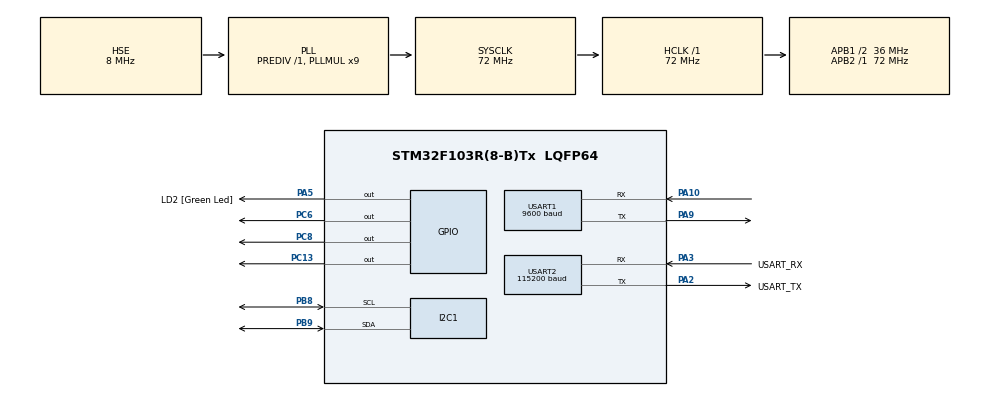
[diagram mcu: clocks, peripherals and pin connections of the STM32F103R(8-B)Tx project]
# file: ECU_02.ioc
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FREERTOS.Tasks01=defaultTask,0,128,StartDefaultTask,Default,NULL,Dynamic,NULL,NULL
Mcu.Family=STM32F1
Mcu.Name=STM32F103R(8-B)Tx
Mcu.Package=LQFP64
NVIC.PriorityGroup=NVIC_PRIORITYGROUP_4
NVIC.USART2_IRQn=true\:5\:0\:false\:false\:true\:true\:true\:true\:true
PA10.Mode=Asynchronous
PA10.Signal=USART1_RX
PA13.GPIO_Label=TMS
PA13.Mode=Serial_Wire
PA13.Signal=SYS_JTMS-SWDIO
PA14.GPIO_Label=TCK
PA14.Mode=Serial_Wire
PA14.Signal=SYS_JTCK-SWCLK
PA2.GPIO_Label=USART_TX
PA2.GPIO_Mode=GPIO_MODE_AF_PP
PA2.GPIO_PuPd=GPIO_NOPULL
PA2.GPIO_Speed=GPIO_SPEED_FREQ_LOW
PA2.Mode=Asynchronous
PA2.Signal=USART2_TX
PA3.GPIO_Label=USART_RX
PA3.GPIO_Mode=GPIO_MODE_AF_PP
PA3.GPIO_PuPd=GPIO_NOPULL
PA3.GPIO_Speed=GPIO_SPEED_FREQ_LOW
PA3.Mode=Asynchronous
PA3.Signal=USART2_RX
PA5.GPIO_Label=LD2 [Green Led]
PA5.GPIO_ModeDefaultOutputPP=GPIO_MODE_OUTPUT_PP
PA5.GPIO_PuPd=GPIO_NOPULL
PA5.GPIO_Speed=GPIO_SPEED_FREQ_LOW
PA5.Signal=GPIO_Output
PA9.Mode=Asynchronous
PA9.Signal=USART1_TX
PB12.Signal=SPI2_NSS
PB8.Mode=I2C
PB8.Signal=I2C1_SCL
PB9.Mode=I2C
PB9.Signal=I2C1_SDA
PC13-TAMPER-RTC.Signal=GPIO_Output
PC14-OSC32_IN.Mode=LSE-External-Oscillator
PC14-OSC32_IN.Signal=RCC_OSC32_IN
PC15-OSC32_OUT.Mode=LSE-External-Oscillator
PC15-OSC32_OUT.Signal=RCC_OSC32_OUT
PC6.Signal=GPIO_Output
PC8.Signal=GPIO_Output
PD0-OSC_IN.Mode=HSE-External-Oscillator
PD0-OSC_IN.Signal=RCC_OSC_IN
PD1-OSC_OUT.Mode=HSE-External-Oscillator
PD1-OSC_OUT.Signal=RCC_OSC_OUT
ProjectManager.HeapSize=0x200
ProjectManager.StackSize=0x400
ProjectManager.TargetToolchain=STM32CubeIDE
RCC.AHBFreq_Value=72000000
RCC.APB1CLKDivider=RCC_HCLK_DIV2
RCC.APB1Freq_Value=36000000
RCC.APB1TimFreq_Value=72000000
RCC.APB2Freq_Value=72000000
RCC.APB2TimFreq_Value=72000000
RCC.HCLKFreq_Value=72000000
RCC.PLLMUL=RCC_PLL_MUL9
RCC.PLLSourceVirtual=RCC_PLLSOURCE_HSE
RCC.RTCClockSelection=RCC_RTCCLKSOURCE_LSE
RCC.SYSCLKFreq_VALUE=72000000
RCC.SYSCLKSource=RCC_SYSCLKSOURCE_PLLCLK
RCC.USBFreq_Value=72000000
USART1.BaudRate=9600
USART1.VirtualMode=VM_ASYNC
USART2.BaudRate=115200
USART2.VirtualMode=VM_ASYNC
VP_FREERTOS_VS_CMSIS_V1.Mode=CMSIS_V1
board=NUCLEO-F103RB

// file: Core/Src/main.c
/* USER CODE BEGIN Header */
/**
  ******************************************************************************
  * @file           : main.c
  * @brief          : Main program body  (CMSIS-OS v1)
  ******************************************************************************
  */
/* USER CODE END Header */
#include "main.h"
#include "cmsis_os.h"

/* USER CODE BEGIN Includes */
#include "mpu6050.h"
#include "gps.h"
#include <math.h>
#include <stdio.h>
#include <string.h>
/* USER CODE END Includes */

/* USER CODE BEGIN PTD */
typedef struct {
  int16_t ax, ay, az;
  uint32_t ts_ms;
} AccelSample_t;
/* USER CODE END PTD */

/* USER CODE BEGIN PD */
#define COLLISION_THRESHOLD_RAW   30000.0f
#define SENSOR_PERIOD_MS          50U
#define DETECT_SIGNAL_FLAG        (1U << 0)
/* USER CODE END PD */

I2C_HandleTypeDef hi2c1;

UART_HandleTypeDef huart1;
UART_HandleTypeDef huart2;

osThreadId defaultTaskHandle;
/* USER CODE BEGIN PV */
static osThreadId sensorTaskHandle;
static osThreadId detectTaskHandle;
static osMutexId  i2cMutexHandle;

static AccelSample_t g_sample;
static uint8_t gps_rx_byte;
/* USER CODE END PV */

void SystemClock_Config(void);
static void MX_GPIO_Init(void);
static void MX_USART2_UART_Init(void);
static void MX_I2C1_Init(void);
static void MX_USART1_UART_Init(void);
void StartDefaultTask(void const * argument);

/* USER CODE BEGIN PFP */
static void SensorTask(void const * argument);
static void DetectTask(void const * argument);
/* USER CODE END PFP */

/* USER CODE BEGIN 0 */
void HAL_UART_RxCpltCallback(UART_HandleTypeDef *huart)
{
  // GPS는 USART1로 수신
  if (huart->Instance == USART1) {
    GPS_OnByte(gps_rx_byte);
    HAL_UART_Receive_IT(&huart1, &gps_rx_byte, 1); // 다음 바이트 계속 수신
  }
}

/* ===================== App Tasks ===================== */
static void SensorTask(void const * argument)
{
  (void)argument;
  int16_t raw[3];
  uint32_t last = osKernelSysTick();

  for(;;) {
    uint32_t now = osKernelSysTick();
    uint32_t elapsed = now - last;
    if (elapsed < SENSOR_PERIOD_MS) {
      osDelay(SENSOR_PERIOD_MS - elapsed);
    }
    last = osKernelSysTick();

    if (i2cMutexHandle) osMutexWait(i2cMutexHandle, 20);
    MPU6050_Read_Accel(&hi2c1, raw);
    if (i2cMutexHandle) osMutexRelease(i2cMutexHandle);

    g_sample.ax = raw[0];
    g_sample.ay = raw[1];
    g_sample.az = raw[2];
    g_sample.ts_ms = osKernelSysTick();

    if (detectTaskHandle) osSignalSet(detectTaskHandle, DETECT_SIGNAL_FLAG);
  }
}

static void DetectTask(void const * argument)
{
  (void)argument;
  for(;;) {
    osEvent ev = osSignalWait(DETECT_SIGNAL_FLAG, osWaitForever);
    if (ev.status != osEventSignal) continue;

    float ax = (float)g_sample.ax;
    float ay = (float)g_sample.ay;
    float az = (float)g_sample.az;
    float mag = sqrtf(ax*ax + ay*ay + az*az);

    if (mag > COLLISION_THRESHOLD_RAW) {
      HAL_GPIO_WritePin(GLD_GPIO_Port, GLD_Pin, GPIO_PIN_SET);
      HAL_GPIO_WritePin(RLD_GPIO_Port, RLD_Pin, GPIO_PIN_RESET);

      GPSFix fix;
      if (GPS_GetLatestFix(&fix)) {
        char out[96];
        // 정수 포맷(printf float 링크 안해도 됨)
        int32_t lat1e6 = (int32_t)(fix.latitude  * 1000000.0);
        int32_t lon1e6 = (int32_t)(fix.longitude * 1000000.0);
        int32_t lat_abs = (lat1e6 < 0) ? -lat1e6 : lat1e6;
        int32_t lon_abs = (lon1e6 < 0) ? -lon1e6 : lon1e6;

        int n = snprintf(out, sizeof(out),
                         "GPS: lat=%c%ld.%06ld lon=%c%ld.%06ld UTC=%02u:%02u:%02u\r\n",
                         (lat1e6<0)?'-':'+', (long)(lat_abs/1000000), (long)(lat_abs%1000000),
                         (lon1e6<0)?'-':'+', (long)(lon_abs/1000000), (long)(lon_abs%1000000),
                         fix.hh, fix.mm, fix.ss);
        HAL_UART_Transmit(&huart2, (uint8_t*)out, n, 50);  // PC로 출력 (USART2)
      } else {
        const char *no = "GPS: no valid fix yet\r\n";
        HAL_UART_Transmit(&huart2, (uint8_t*)no, strlen(no), 20); // PC로 출력
      }
    } else {
//        HAL_GPIO_WritePin(GLD_GPIO_Port, GLD_Pin, GPIO_PIN_RESET);
//        HAL_GPIO_WritePin(RLD_GPIO_Port, RLD_Pin, GPIO_PIN_SET);
    }
  }
}
/* USER CODE END 0 */

int main(void)
{

  /* MCU Configuration--------------------------------------------------------*/

  /* Reset of all peripherals, Initializes the Flash interface and the Systick. */
  HAL_Init();

  /* Configure the system clock */
  SystemClock_Config();

  /* Initialize all configured peripherals */
  MX_GPIO_Init();
  MX_USART2_UART_Init();
  MX_I2C1_Init();
  MX_USART1_UART_Init();
  /* USER CODE BEGIN 2 */
  // GPS 수신 시작 (USART1)
  GPS_Init();
  HAL_UART_Receive_IT(&huart1, &gps_rx_byte, 1);

  // I2C 뮤텍스
  osMutexDef(I2C_MTX);
  i2cMutexHandle = osMutexCreate(osMutex(I2C_MTX));

  // MPU6050 초기화 (I2C 보호)
  if (i2cMutexHandle) {
    osMutexWait(i2cMutexHandle, 100);
    MPU6050_Init(&hi2c1);
    osMutexRelease(i2cMutexHandle);
  }
  /* USER CODE END 2 */

  /* Create the thread(s) */
  /* definition and creation of defaultTask */
  osThreadDef(defaultTask, StartDefaultTask, osPriorityNormal, 0, 128);
  defaultTaskHandle = osThreadCreate(osThread(defaultTask), NULL);

  /* USER CODE BEGIN RTOS_THREADS */
  osThreadDef(Sensor, SensorTask, osPriorityAboveNormal, 0, 256);
  sensorTaskHandle = osThreadCreate(osThread(Sensor), NULL);

  osThreadDef(Detect, DetectTask, osPriorityNormal, 0, 256);
  detectTaskHandle = osThreadCreate(osThread(Detect), NULL);
  /* USER CODE END RTOS_THREADS */

  /* Start scheduler */
  osKernelStart();

  /* We should never get here as control is now taken by the scheduler */

  /* Infinite loop */
  while (1)
  {

  }
}

void SystemClock_Config(void)
{
  RCC_OscInitTypeDef RCC_OscInitStruct = {0};
  RCC_ClkInitTypeDef RCC_ClkInitStruct = {0};

  /** Initializes the RCC Oscillators according to the specified parameters
  * in the RCC_OscInitTypeDef structure.
  */
  RCC_OscInitStruct.OscillatorType = RCC_OSCILLATORTYPE_HSE;
  RCC_OscInitStruct.HSEState = RCC_HSE_ON;
  RCC_OscInitStruct.HSEPredivValue = RCC_HSE_PREDIV_DIV1;
  RCC_OscInitStruct.HSIState = RCC_HSI_ON;
  RCC_OscInitStruct.PLL.PLLState = RCC_PLL_ON;
  RCC_OscInitStruct.PLL.PLLSource = RCC_PLLSOURCE_HSE;
  RCC_OscInitStruct.PLL.PLLMUL = RCC_PLL_MUL9;
  if (HAL_RCC_OscConfig(&RCC_OscInitStruct) != HAL_OK)
  {
    Error_Handler();
  }

  /** Initializes the CPU, AHB and APB buses clocks
  */
  RCC_ClkInitStruct.ClockType = RCC_CLOCKTYPE_HCLK|RCC_CLOCKTYPE_SYSCLK
                              |RCC_CLOCKTYPE_PCLK1|RCC_CLOCKTYPE_PCLK2;
  RCC_ClkInitStruct.SYSCLKSource = RCC_SYSCLKSOURCE_PLLCLK;
  RCC_ClkInitStruct.AHBCLKDivider = RCC_SYSCLK_DIV1;
  RCC_ClkInitStruct.APB1CLKDivider = RCC_HCLK_DIV2;
  RCC_ClkInitStruct.APB2CLKDivider = RCC_HCLK_DIV1;

  if (HAL_RCC_ClockConfig(&RCC_ClkInitStruct, FLASH_LATENCY_2) != HAL_OK)
  {
    Error_Handler();
  }
}

static void MX_I2C1_Init(void)
{

  hi2c1.Instance = I2C1;
  hi2c1.Init.ClockSpeed = 100000;
  hi2c1.Init.DutyCycle = I2C_DUTYCYCLE_2;
  hi2c1.Init.OwnAddress1 = 0;
  hi2c1.Init.AddressingMode = I2C_ADDRESSINGMODE_7BIT;
  hi2c1.Init.DualAddressMode = I2C_DUALADDRESS_DISABLE;
  hi2c1.Init.OwnAddress2 = 0;
  hi2c1.Init.GeneralCallMode = I2C_GENERALCALL_DISABLE;
  hi2c1.Init.NoStretchMode = I2C_NOSTRETCH_DISABLE;
  if (HAL_I2C_Init(&hi2c1) != HAL_OK)
  {
    Error_Handler();
  }

}

static void MX_USART1_UART_Init(void)
{

  huart1.Instance = USART1;
  huart1.Init.BaudRate = 9600;
  huart1.Init.WordLength = UART_WORDLENGTH_8B;
  huart1.Init.StopBits = UART_STOPBITS_1;
  huart1.Init.Parity = UART_PARITY_NONE;
  huart1.Init.Mode = UART_MODE_TX_RX;
  huart1.Init.HwFlowCtl = UART_HWCONTROL_NONE;
  huart1.Init.OverSampling = UART_OVERSAMPLING_16;
  if (HAL_UART_Init(&huart1) != HAL_OK)
  {
    Error_Handler();
  }

}

static void MX_USART2_UART_Init(void)
{

  huart2.Instance = USART2;
  huart2.Init.BaudRate = 115200;
  huart2.Init.WordLength = UART_WORDLENGTH_8B;
  huart2.Init.StopBits = UART_STOPBITS_1;
  huart2.Init.Parity = UART_PARITY_NONE;
  huart2.Init.Mode = UART_MODE_TX_RX;
  huart2.Init.HwFlowCtl = UART_HWCONTROL_NONE;
  huart2.Init.OverSampling = UART_OVERSAMPLING_16;
  if (HAL_UART_Init(&huart2) != HAL_OK)
  {
    Error_Handler();
  }

}

static void MX_GPIO_Init(void)
{
  GPIO_InitTypeDef GPIO_InitStruct = {0};

  /* GPIO Ports Clock Enable */
  __HAL_RCC_GPIOC_CLK_ENABLE();
  __HAL_RCC_GPIOD_CLK_ENABLE();
  __HAL_RCC_GPIOA_CLK_ENABLE();
  __HAL_RCC_GPIOB_CLK_ENABLE();

  /*Configure GPIO pin Output Level */
  HAL_GPIO_WritePin(GPIOC, GPIO_PIN_13, GPIO_PIN_RESET);

  /*Configure GPIO pin Output Level */
  HAL_GPIO_WritePin(RLD_GPIO_Port, RLD_Pin, GPIO_PIN_SET);
  HAL_GPIO_WritePin(GLD_GPIO_Port, GLD_Pin, GPIO_PIN_RESET);

  /*Configure GPIO pins : PC13 PC6 PC8 */
  GPIO_InitStruct.Pin = GPIO_PIN_13;
  GPIO_InitStruct.Mode = GPIO_MODE_OUTPUT_PP;
  GPIO_InitStruct.Pull = GPIO_NOPULL;
  GPIO_InitStruct.Speed = GPIO_SPEED_FREQ_LOW;
  HAL_GPIO_Init(GPIOC, &GPIO_InitStruct);

  /*Configure GPIO pin : LED_Pin */
  GPIO_InitStruct.Pin = GPIO_PIN_6|GPIO_PIN_8;
  GPIO_InitStruct.Mode = GPIO_MODE_OUTPUT_PP;
  GPIO_InitStruct.Pull = GPIO_NOPULL;
  GPIO_InitStruct.Speed = GPIO_SPEED_FREQ_LOW;
  HAL_GPIO_Init(GPIOC, &GPIO_InitStruct);

  /*Configure GPIO pin : PB12 */
  GPIO_InitStruct.Pin = GPIO_PIN_12;
  GPIO_InitStruct.Mode = GPIO_MODE_AF_PP;
  GPIO_InitStruct.Speed = GPIO_SPEED_FREQ_HIGH;
  HAL_GPIO_Init(GPIOB, &GPIO_InitStruct);

}

void StartDefaultTask(void const * argument)
{
  for(;;)
  {
    osDelay(1);
  }
}

void Error_Handler(void)
{
  __disable_irq();
  while (1)
  {
  }
}
